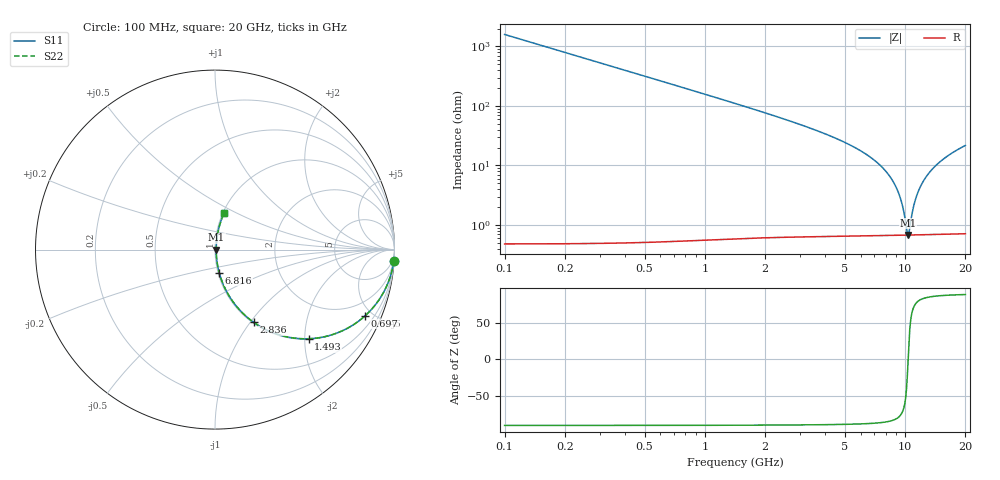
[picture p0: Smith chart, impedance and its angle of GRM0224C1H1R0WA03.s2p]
!Murata Part Number: GRM0224C1H1R0WA03
!These Parameters are Measured in Series Mode Connection
!Data Generated on Mar 30, 2021
!  o--ll--o
!Port1  Port2
!  o------o
!Operation Temp=25[degC], DC Bias Voltage=0[V]
!Freq. Start=100[MHz] Stop=20[GHz] 401[Steps]
# Hz S RI R 50
!Freq.(Hz) S11(Real) S11(Imag) S21(Real) S21(Imag) S12(Real) S12(Imag) S22(Real) S22(Imag)
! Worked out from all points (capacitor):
!   401 points, 100 MHz to 20 GHz, reference 50 ohm
!   read as one part in series: C = 1 pF near 199.5 MHz
!   lowest |Z| = 675 mohm at 10.35 GHz (marker M1)
!   series resonance near 10.35 GHz, so ESL is about 240 pH
!   S11 on the Smith chart (normalised r, x): 100 MHz: 1, -32; 697 MHz: 1.01, -4.54; 1.493 GHz: 1.01, -2.09; 2.836 GHz: 1.01, -1.04; 6.816 GHz: 1.01, -0.26; 20 GHz: 1.01, +0.43
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1e8  0.996 -0.0626  0.00395 0.0626  0.00395 0.0626  0.996 -0.0626
3.4875e8  0.9539 -0.2092  0.0461 0.2092  0.0461 0.2092  0.9539 -0.2092
6.97e8  0.8372 -0.368  0.1628 0.368  0.1628 0.368  0.8372 -0.368
1.04525e9  0.6934 -0.4592  0.3066 0.4592  0.3066 0.4592  0.6934 -0.4592
1.493e9  0.521 -0.4968  0.479 0.4968  0.479 0.4968  0.521 -0.4968
2.13975e9  0.3373 -0.4685  0.6627 0.4685  0.6627 0.4685  0.3373 -0.4685
2.83625e9  0.2147 -0.4046  0.7853 0.4046  0.7853 0.4046  0.2147 -0.4046
3.43325e9  0.149 -0.3485  0.851 0.3485  0.851 0.3485  0.149 -0.3485
6.7665e9  0.0239 -0.1304  0.9761 0.1304  0.9761 0.1304  0.0239 -0.1304
6.81625e9  0.0233 -0.1281  0.9767 0.1281  0.9767 0.1281  0.0233 -0.1281
8.06e9  0.0125 -0.0762  0.9875 0.0762  0.9875 0.0762  0.0125 -0.0762
8.9555e9  0.00858 -0.044  0.9914 0.044  0.9914 0.044  0.00858 -0.044
9.60225e9  0.00719 -0.0228  0.9928 0.0228  0.9928 0.0228  0.00719 -0.0228
1.005e10  0.00677 -0.00897  0.9932 0.00897  0.9932 0.00897  0.00677 -0.00897
1.03485e10  0.0067 -0.00011  0.9933 0.00011  0.9933 0.00011  0.0067 -0.00011
1.049775e10  0.00673 0.00422  0.9933 -0.00422  0.9933 -0.00422  0.00673 0.00422
1.099525e10  0.00707 0.0182  0.9929 -0.0182  0.9929 -0.0182  0.00707 0.0182
1.149275e10  0.00776 0.0317  0.9922 -0.0317  0.9922 -0.0317  0.00776 0.0317
1.228875e10  0.00952 0.052  0.9905 -0.052  0.9905 -0.052  0.00952 0.052
1.338325e10  0.013 0.0781  0.987 -0.0781  0.987 -0.0781  0.013 0.0781
1.67165e10  0.0292 0.1471  0.9708 -0.1471  0.9708 -0.1471  0.0292 0.1471
2e10  0.051 0.2042  0.949 -0.2042  0.949 -0.2042  0.051 0.2042
